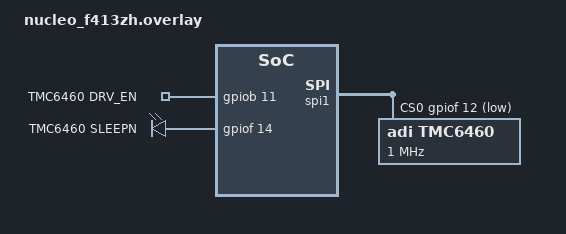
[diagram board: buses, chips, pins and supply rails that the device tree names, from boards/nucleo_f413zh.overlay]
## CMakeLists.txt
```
# SPDX-FileCopyrightText: Copyright (c) 2026 Cherrence Sarip <cherrence.sarip@analog.com>
# SPDX-License-Identifier: Apache-2.0

cmake_minimum_required(VERSION 3.20.0)
find_package(Zephyr REQUIRED HINTS $ENV{ZEPHYR_BASE})
project(tmc6460_sample)

target_sources(app PRIVATE src/main.c)
target_include_directories(app PRIVATE
  ${ZEPHYR_BASE}/drivers/stepper/adi_tmc/tmc6460
)
```

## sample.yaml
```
# SPDX-FileCopyrightText: Copyright (c) 2026 Cherrence Sarip <cherrence.sarip@analog.com>
# SPDX-License-Identifier: Apache-2.0

sample:
  name: TMC6460 Sample
  description: Demonstrates basic register read/write on the TMC6460 via SPI.
tests:
  sample.drivers.stepper.tmc6460:
    tags: stepper spi
    depends_on: spi
    filter: dt_compat_enabled("adi,tmc6460")
```

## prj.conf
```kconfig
CONFIG_SPI=y
CONFIG_GPIO=y
CONFIG_STEPPER=y
CONFIG_STEPPER_ADI_TMC6460=y
CONFIG_LOG=y
CONFIG_LOG_DEFAULT_LEVEL=3
CONFIG_LOG_MODE_IMMEDIATE=y
```

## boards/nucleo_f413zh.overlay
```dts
/*
 * SPDX-FileCopyrightText: Copyright (c) 2026 Cherrence Sarip <cherrence.sarip@analog.com>
 * SPDX-License-Identifier: Apache-2.0
 */

/* Overlay for Nucleo F413ZH: TMC6460 on SPI1, CS on PF12, DRV_EN on PB11, SLEEPN on PF14. */

&spi1 {
	status = "okay";

	cs-gpios = <&gpiof 12 GPIO_ACTIVE_LOW>;

	tmc6460: tmc6460@0 {
		compatible = "adi,tmc6460";
		reg = <0>;
		spi-max-frequency = <1000000>;
	};
};

/ {
	tmc6460_gpios {
		compatible = "gpio-leds";
		drv_en: drv_en {
			gpios = <&gpiob 11 GPIO_ACTIVE_HIGH>;
			label = "TMC6460 DRV_EN";
		};
		sleepn: sleepn {
			gpios = <&gpiof 14 GPIO_ACTIVE_HIGH>;
			label = "TMC6460 SLEEPN";
		};
	};

	aliases {
		tmc6460-drv-en = &drv_en;
		tmc6460-sleepn = &sleepn;
	};
};
```

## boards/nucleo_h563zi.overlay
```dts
/*
 * SPDX-FileCopyrightText: Copyright (c) 2026 Cherrence Sarip <cherrence.sarip@analog.com>
 * SPDX-License-Identifier: Apache-2.0
 */

/* Overlay for Nucleo H563ZI: TMC6460 on SPI1, CS on PF12, DRV_EN on PB11, SLEEPN on PE14. */

/* Disable DAC1 which conflicts with PA5 (SPI1_SCK) */
&dac1 {
	status = "disabled";
};

/* Disable Ethernet which conflicts with PA7 (SPI1_MOSI) */
&mac {
	status = "disabled";
};

&spi1 {
	status = "okay";
	pinctrl-0 = <&spi1_sck_pa5 &spi1_miso_pa6 &spi1_mosi_pa7>;

	cs-gpios = <&gpiof 12 GPIO_ACTIVE_LOW>;

	tmc6460: tmc6460@0 {
		compatible = "adi,tmc6460";
		reg = <0>;
		spi-max-frequency = <1000000>;
	};
};

/ {
	tmc6460_gpios {
		compatible = "gpio-leds";
		drv_en: drv_en {
			gpios = <&gpiob 11 GPIO_ACTIVE_HIGH>;
			label = "TMC6460 DRV_EN";
		};
		sleepn: sleepn {
			gpios = <&gpioe 14 GPIO_ACTIVE_HIGH>;
			label = "TMC6460 SLEEPN";
		};
	};

	aliases {
		tmc6460-drv-en = &drv_en;
		tmc6460-sleepn = &sleepn;
	};
};
```

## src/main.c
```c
/*
 * SPDX-FileCopyrightText: Copyright (c) 2026 Cherrence Sarip <cherrence.sarip@analog.com>
 * SPDX-License-Identifier: Apache-2.0
 */

#include <zephyr/kernel.h>
#include <zephyr/device.h>
#include <zephyr/drivers/gpio.h>
#include <zephyr/logging/log.h>

#include "tmc6460.h"

LOG_MODULE_REGISTER(tmc6460_sample, LOG_LEVEL_INF);

#define DRV_EN_NODE DT_ALIAS(tmc6460_drv_en)
static const struct gpio_dt_spec drv_en = GPIO_DT_SPEC_GET(DRV_EN_NODE, gpios);

#define SLEEPN_NODE DT_ALIAS(tmc6460_sleepn)
static const struct gpio_dt_spec sleepn = GPIO_DT_SPEC_GET(SLEEPN_NODE, gpios);

int main(void)
{
	const struct device *dev = DEVICE_DT_GET(DT_NODELABEL(tmc6460));
	uint32_t val;
	int ret;

	/* Deassert SLEEPN (drive HIGH to wake TMC6460) */
	if (!gpio_is_ready_dt(&sleepn)) {
		LOG_ERR("SLEEPN GPIO not ready");
		return -ENODEV;
	}

	ret = gpio_pin_configure_dt(&sleepn, GPIO_OUTPUT_ACTIVE);
	if (ret < 0) {
		LOG_ERR("Failed to configure SLEEPN: %d", ret);
		return ret;
	}
	LOG_INF("SLEEPN deasserted (PF14 HIGH)");

	/* Assert DRV_EN high to enable the TMC6460 */
	if (!gpio_is_ready_dt(&drv_en)) {
		LOG_ERR("DRV_EN GPIO not ready");
		return -ENODEV;
	}

	ret = gpio_pin_configure_dt(&drv_en, GPIO_OUTPUT_ACTIVE);
	if (ret < 0) {
		LOG_ERR("Failed to configure DRV_EN: %d", ret);
		return ret;
	}
	LOG_INF("DRV_EN asserted (PB11 HIGH)");

	/* Longer delay for TMC6460 PLL to lock after reset */
	k_msleep(100);

	if (!device_is_ready(dev)) {
		LOG_ERR("TMC6460 device not ready");
		return -ENODEV;
	}

	LOG_INF("TMC6460 device ready: %s", dev->name);

	/* Read CHIP.ID to verify SPI communication */
	ret = tmc6460_read(dev, TMC6460_CHIP_ID, &val);
	if (ret != 0) {
		LOG_ERR("Failed to read CHIP.ID: %d", ret);
		return ret;
	}
	LOG_INF("CHIP.ID = 0x%08x", val);

	/* Read IO CONFIG (read-only, shows pin states) */
	ret = tmc6460_read(dev, TMC6460_CHIP_IO_CONFIG, &val);
	if (ret != 0) {
		LOG_ERR("Failed to read IO_CONFIG: %d", ret);
		return ret;
	}
	LOG_INF("IO_CONFIG = 0x%08x", val);

	/* Read more chip info */
	ret = tmc6460_read(dev, TMC6460_CHIP_VARIANT, &val);
	if (ret == 0) {
		LOG_INF("CHIP_VARIANT = 0x%08x", val);
	}

	ret = tmc6460_read(dev, TMC6460_CHIP_REVISION, &val);
	if (ret == 0) {
		LOG_INF("CHIP_REVISION = 0x%08x", val);
	}

	/* Check PLL status */
	ret = tmc6460_read(dev, TMC6460_CLK_CTRL_STATUS, &val);
	if (ret == 0) {
		LOG_INF("CLK_CTRL_STATUS = 0x%08x", val);
		LOG_INF("  CLK_1M0_OK=%u  PLL_LOCK=%u  PLL_READY=%u",
			(val >> 0) & 1U, (val >> 5) & 1U, (val >> 6) & 1U);
	}

	/* Read CLK_CTRL_CONFIG */
	ret = tmc6460_read(dev, TMC6460_CLK_CTRL_CONFIG, &val);
	if (ret == 0) {
		LOG_INF("CLK_CTRL_CONFIG = 0x%08x", val);
	}

	/*
	 * Step 1: Write CLK_CTRL_CONFIG WITHOUT commit to verify write works.
	 * Use clock divider = 15 for 15MHz/15 = 1MHz reference.
	 * PLL_EN=1, ADC_CLK_EN=1, PWM_CLK_EN=1, CLK_FSM_EN=1.
	 * CLOCK_DIVIDER[12:8] = 15 = 0x0F.
	 * Value = (0x0F << 8) | PLL_EN | ADC_CLK_EN | PWM_CLK_EN | CLK_FSM_EN
	 *       = 0x0F00 | 0x04 | 0x08 | 0x10 | 0x20 = 0x0F3C
	 */
	ret = tmc6460_write(dev, TMC6460_CLK_CTRL_CONFIG, 0x00000F3CU);
	if (ret != 0) {
		LOG_ERR("Failed to write CLK config: %d", ret);
		return ret;
	}
	LOG_INF("Wrote CLK_CTRL_CONFIG = 0x0F3C (no COMMIT yet)");

	/* Read back to verify write persists */
	ret = tmc6460_read(dev, TMC6460_CLK_CTRL_CONFIG, &val);
	if (ret == 0) {
		LOG_INF("CLK_CTRL_CONFIG readback = 0x%08x", val);
	}

	/* Step 2: Now write with COMMIT bit to apply */
	ret = tmc6460_write(dev, TMC6460_CLK_CTRL_CONFIG, 0x00000F3DU);
	if (ret != 0) {
		LOG_ERR("Failed to commit CLK config: %d", ret);
		return ret;
	}
	LOG_INF("CLK_CTRL_CONFIG committed (0x0F3D)");

	/* Wait for PLL to lock (needs time) */
	k_msleep(50);

	/* Check PLL status again */
	ret = tmc6460_read(dev, TMC6460_CLK_CTRL_STATUS, &val);
	if (ret == 0) {
		LOG_INF("CLK_CTRL_STATUS after commit = 0x%08x", val);
		LOG_INF("  CLK_1M0_OK=%u  PLL_LOCK=%u  PLL_READY=%u",
			(val >> 0) & 1U, (val >> 5) & 1U, (val >> 6) & 1U);
	}

	/* Read back config again (COMMIT is a strobe, should self-clear) */
	ret = tmc6460_read(dev, TMC6460_CLK_CTRL_CONFIG, &val);
	if (ret == 0) {
		LOG_INF("CLK_CTRL_CONFIG after commit = 0x%08x", val);
	}

	/* Also try writing to a CHIP-domain writable register */
	ret = tmc6460_write(dev, TMC6460_CHIP_SPI_STATUS_MASK, 0x0000000FU);
	if (ret != 0) {
		LOG_ERR("Failed to write SPI_STATUS_MASK: %d", ret);
	}
	ret = tmc6460_read(dev, TMC6460_CHIP_SPI_STATUS_MASK, &val);
	if (ret == 0) {
		LOG_INF("CHIP_SPI_STATUS_MASK readback = 0x%08x", val);
	}

	/* Test write: set RAMPER_V_MAX to a known value */
	ret = tmc6460_write(dev, TMC6460_RAMPER_V_MAX, 0x00001000U);
	if (ret != 0) {
		LOG_ERR("Failed to write RAMPER_V_MAX: %d", ret);
		return ret;
	}
	LOG_INF("Wrote RAMPER_V_MAX = 0x00001000");

	/* Read back RAMPER_V_MAX to confirm write */
	ret = tmc6460_read(dev, TMC6460_RAMPER_V_MAX, &val);
	if (ret == 0) {
		LOG_INF("RAMPER_V_MAX readback = 0x%08x", val);
	}

	LOG_INF("TMC6460 sample complete");
	return 0;
}
```
